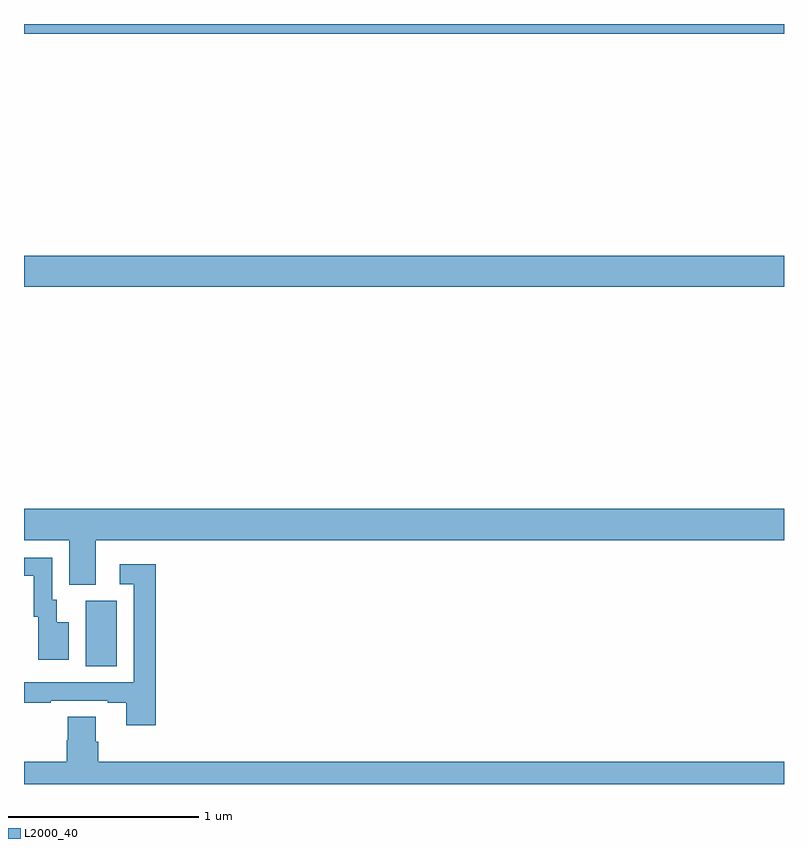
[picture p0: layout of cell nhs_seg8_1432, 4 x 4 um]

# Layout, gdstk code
import gdstk
lib = gdstk.Library(unit=1e-6, precision=1e-09)
def R(c, l, rs):  # rectangles x0, y0, x1, y1
    for r in rs: c.add(gdstk.rectangle(r[:2], r[2:], *l))
def P(c, l, *ps):  # polygons
    for p in ps: c.add(gdstk.Polygon(p, *l))
L2000_40 = (2000, 40)

nhs_seg8_1432 = lib.new_cell('nhs_seg8_1432')
R(nhs_seg8_1432, L2000_40, [(203.324,1098.52,203.488,1098.864), (203,1100.516,207,1100.68), (203,1101.848,207,1101.9)])
P(nhs_seg8_1432, L2000_40, [(203.377,1099.184),(207,1099.184),(207,1099.348),(203,1099.348),(203,1099.184),(203.237,1099.184),(203.237,1098.949),(203.377,1098.949)],
  [(203.236,1098.751),(203.173,1098.751),(203.173,1098.87),(203.148,1098.87),(203.148,1099.092),(203,1099.092),(203,1098.996),(203.051,1098.996),(203.051,1098.78),(203.075,1098.78),(203.075,1098.555),(203.236,1098.555)],
  [(203.693,1099.057),(203.505,1099.057),(203.505,1098.951),(203.577,1098.951),(203.577,1098.435),(203,1098.435),(203,1098.327),(203.141,1098.327),(203.141,1098.339),(203.441,1098.339),(203.441,1098.327),(203.537,1098.327),(203.537,1098.21),(203.693,1098.21)],
  [(207,1098.016),(203.39,1098.016),(203.39,1098.122),(203.377,1098.122),(203.377,1098.254),(203.23,1098.254),(203.23,1098.129),(203.225,1098.129),(203.225,1098.016),(203,1098.016),(203,1097.9),(207,1097.9)])

lib.write_gds('nhs_seg8_1432.gds')
